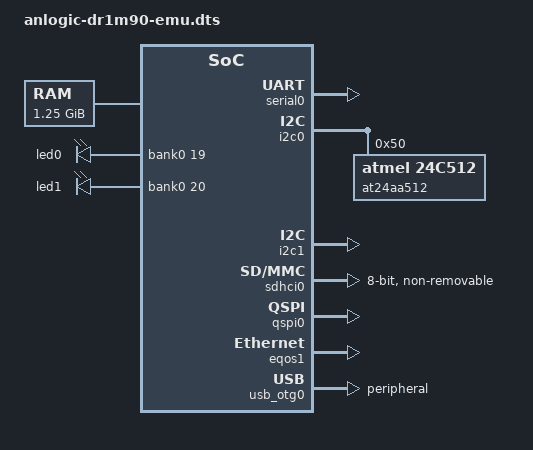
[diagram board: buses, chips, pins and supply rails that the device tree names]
// SPDX-License-Identifier: (GPL-2.0+ OR MIT)

/dts-v1/;
#include "anlogic-dr1m90.dtsi"

/ {
	aliases {
		uart0 = &serial0;
		eqos1 = &eqos1;
	};

	chosen {
		bootargs = "console=ttyS0,115200n8 earlycon=uart,mmio32,0xf8400000 loglevel=8";
		stdout-path = &serial0;
	};

	reserved_memory: reserved-memory {
		#address-cells = <2>;
		#size-cells = <2>;
		ranges;

		linux,cma {
			compatible = "shared-dma-pool";
			alloc-ranges = <0x0 0x00000000 0x0 0xffffffff>;
			reusable;
			alignment = <0x0 0x400000>;
			size = <0x0 0x10000000>;
			linux,cma-default;
		};

	};

	memory {
		device_type = "memory";
		reg = <0 0x00000000 0 0x50000000>;
	};
};

&soc {
	hard_npu: hard_npu@63F00000 {
		compatible = "Anlogic,hard_npu";
		reg = <0x0 0x63F00000 0x0 0x00100000>;
		//interrupts = <0 144 0x04>;
		interrupts = <0 112 0x04>;
	};

	soft_npu: soft_npu@91000000 {
		compatible = "Anlogic,soft_npu";
		reg = <0x0 0x91000000 0x0 0x00100000>;
		//interrupts = <0 129 0x04>;
		interrupts = <0 97 0x04>;
	};

	jpu: jpu@f8460000 {
		compatible = "Anlogic,jpu";
		reg = <0x0 0xF8460000 0x0 0x00010000>;
		//interrupts = <0 145 0x04>;
		interrupts = <0 113 0x04>;
	};

	APB_PCLK: APB_PCLK {
		#clock-cells = <0>;
		compatible = "fixed-clock";
		clock-frequency = <50000000>;
		clock-output-names = "APB_PCLK";
	};

	IIC_CLK: IIC_CLK {
		#clock-cells = <0>;
		compatible = "fixed-clock";
		clock-frequency = <40000000>;
		clock-output-names = "IIC_CLK";
	};

	GPIO_CLK: GPIO_CLK {
		#clock-cells = <0>;
		compatible = "fixed-clock";
		clock-frequency = <25000000>;
		clock-output-names = "GPIO_CLK";
	};

	qspi_m_clk: qspi_m_clk {
		#clock-cells = <0>;
		compatible = "fixed-clock";
		clock-frequency = <50000000>;
		clock-output-names = "qspi_m_clk";
	};

	WDT_CLK: WDT_CLK {
		#clock-cells = <0>;
		compatible = "fixed-clock";
		clock-frequency = <16666666>;
		clock-output-names = "WDT_CLK";
	};

	GBE_CLK: GBE_CLK {
		#clock-cells = <0>;
		compatible = "fixed-clock";
		clock-frequency = <25000000>;
		clock-output-names = "GBE_CLK";
	};

	PHY_CLK: PHY_CLK {
		#clock-cells = <0>;
		compatible = "fixed-clock";
		clock-frequency = <25000000>;
		clock-output-names = "PHY_CLK";
	};

	PTP_CLK: PTP_CLK {
		#clock-cells = <0>;
		compatible = "fixed-clock";
		clock-frequency = <50000000>;
		clock-output-names = "PTP_CLK";
	};

	DWMMC_CIU_CLK: DWMMC_CIU_CLK {
		#clock-cells = <0>;
		compatible = "fixed-clock";
		clock-frequency = <50000000>;
		clock-output-names = "DWMMC_CIU_CLK";
	};

	DWMMC_BIU_CLK: DWMMC_BIU_CLK {
		#clock-cells = <0>;
		compatible = "fixed-clock";
		clock-frequency = <50000000>;
		clock-output-names = "DWMMC_BIU_CLK";
	};

	qspi_m_clk: qspi_m_clk {
		#clock-cells = <0>;
		compatible = "fixed-clock";
		clock-frequency = <50000000>;
		clock-output-names = "qspi_m_clk";
	};

	leds {
		compatible = "gpio-leds";
		led0 {
			gpios = <&bank0 19 GPIO_ACTIVE_HIGH>;
			linux,default-trigger = "timer";
			status = "okay";
		};

		led1 {
			gpios = <&bank0 20 GPIO_ACTIVE_HIGH>;
			linux,default-trigger = "heartbeat";
			status = "okay";
		};
	};
};

&cpu0 {
	clock-frequency = <50000000>;
};

&cpu1 {
	clock-frequency = <50000000>;
};

&timer {
	clock-frequency = <50000000>;
};

&serial0 {
	clock-frequency = <40000000>;
	status = "okay";
};

&serial1 {
	clock-frequency = <40000000>;
	status = "disabled";
};

&i2c0 {
	clocks = <&IIC_CLK>;
	clock-names = "IIC_CLK";
	status = "okay";

	at24aa512: eeprom@50 {
		compatible = "atmel,24c512"; /* 64K Bytes, at24AA512 */
		reg = <0x50>;
		pagesize = <8>;
		address-width = <16>;
		status = "okay";
	};
};

&i2c1 {
	clocks = <&IIC_CLK>;
	clock-names = "IIC_CLK";
	status = "okay";
};

&gpio {
	clocks = <&GPIO_CLK>;
	status = "okay";
};

&axidmac {
	clock-names = "apb_pclk";
	clocks = <&APB_PCLK>;
	status = "okay";
};

&watchdog0 {
	clocks = <&WDT_CLK>;
	status = "disabled";
};

&sdhci0 {
	clocks = <&DWMMC_CIU_CLK>, <&DWMMC_BIU_CLK>;
	clock-names = "core", "bus";
	max-frequency = <10000000>;
	sdhci-caps-mask = <0x08FF0000 0x0600FF00>;
	sdhci-caps = <0x10000 0xa00>;
	bus-width = <8>;
	non-removable;
	broken-cd;
	disable-wp;
	no-sdio;
	no-1-8-v;
	sdhci,auto-cmd12;
	status = "okay";
};

&qspi0 {
	clocks = <&qspi_m_clk>;
	status = "okay";
};

&spi0 {
	status = "disabled";
};

&spi1 {
	status = "disabled";
};

&eqos0 {
	clocks = <&GBE_CLK>,<&PHY_CLK>,<&PTP_CLK>;
	clock-names = "apb_pclk","phy_ref_clk","ptp_ref";
	status = "disabled";
};

&eqos1 {
	clocks = <&GBE_CLK>,<&PHY_CLK>,<&PTP_CLK>;
	clock-names = "apb_pclk","phy_ref_clk","ptp_ref";
	status = "okay";
};

&usb_otg0 {
	dr_mode = "peripheral";
	g-np-tx-fifo-size = <32>;
	g-rx-fifo-size = <768>;
	g-tx-fifo-size = <512 512 512 32 16 16 16 16 16 16 16 16 16 16 16>;
	g-use-dma;
	status = "okay";
};
